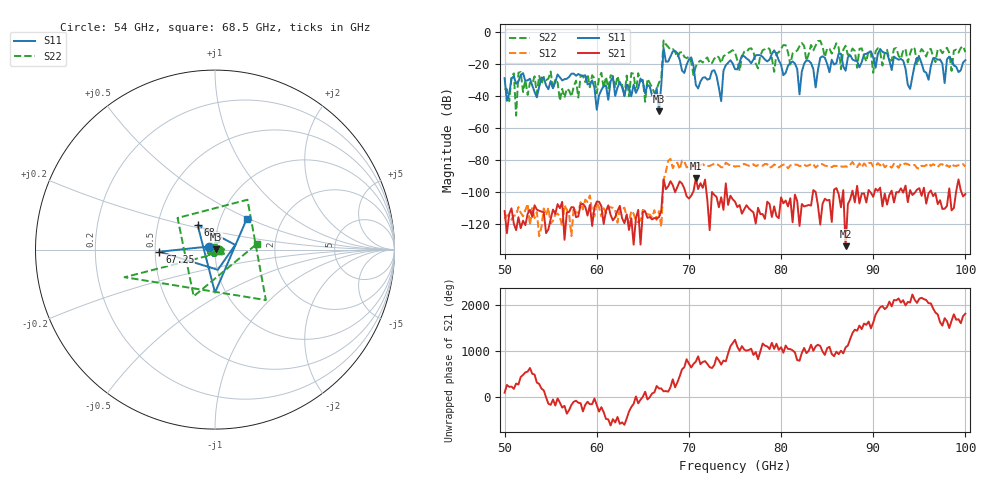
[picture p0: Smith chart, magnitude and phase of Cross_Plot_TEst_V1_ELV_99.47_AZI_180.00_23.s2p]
! 11/25/2026 1:26:26 PM
! C:\ANRITSUVNA\TEMP\TEMP.S2P
! CHANNEL.1
! TR.MEASUREMENT
! RAW.DATA
# HZ S RI R 50.0
! FREQ.HZ  S11RE  S11IM  S21RE  S21IM  S12RE  S12IM  S22RE  S22IM
!; PortSelection: Port_12
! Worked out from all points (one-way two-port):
!   201 points, 50 GHz to 100 GHz, reference 50 ohm
!   highest |S21| = -91.68 dB at 70.75 GHz (marker M1); lowest = -134.0 dB at 87 GHz (marker M2)
!   lowest |S11| = -49.7 dB at 66.75 GHz (marker M3), VSWR 1.01, Z = 50.3 + j0.0726 ohm
!   |S11| at or under -10 dB: start of sweep to end of sweep
!   |S22| runs from -52.5 to -5.6 dB; largest |S21 - S12| = 0.00013
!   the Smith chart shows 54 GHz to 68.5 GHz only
!   S11 on the Smith chart (normalised r, x): 54 GHz: 0.93, +0.03; 67.25 GHz: 0.53, -0.01; 68 GHz: 0.80, +0.22; 68.5 GHz: 1.33, +0.49
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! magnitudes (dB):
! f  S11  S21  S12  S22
! 50 GHz  -29.1  -112.0  -116.9  -35.7
! 51 GHz  -27.9  -120.0  -114.9  -26.1
! 51.25 GHz  -32.6  -124.0  -114.7  -52.5
! 51.5 GHz  -31.2  -115.9  -109.6  -25.7
! 54 GHz  -28.7  -112.4  -121.9  -33.0
! 58.5 GHz  -27.7  -107.6  -111.0  -27.7
! 60 GHz  -48.8  -106.2  -106.5  -38.5
! 61.75 GHz  -28.4  -117.9  -110.1  -27.7
! 66.75 GHz  -49.7  -115.9  -112.1  -31.9
! 67.25 GHz  -10.2  -92.3  -92.5  -5.6
! 68 GHz  -15.5  -93.4  -79.5  -11.3
! 68.5 GHz  -12.1  -100.3  -82.6  -12.6
! 70.75 GHz  -33.4  -91.7  -84.5  -21.8
! 72.75 GHz  -24.1  -101.9  -82.4  -17.0
! 73.5 GHz  -43.5  -103.4  -84.7  -19.7
! 75 GHz  -23.5  -106.2  -84.3  -13.0
! 83.5 GHz  -23.5  -99.0  -82.9  -11.8
! 87 GHz  -24.4  -134.0  -84.2  -8.9
! 91.75 GHz  -18.1  -102.1  -83.9  -17.6
! 94 GHz  -35.8  -99.0  -83.5  -13.7
! 94.75 GHz  -16.5  -98.7  -85.2  -21.0
! 100 GHz  -17.9  -101.4  -84.2  -12.8
